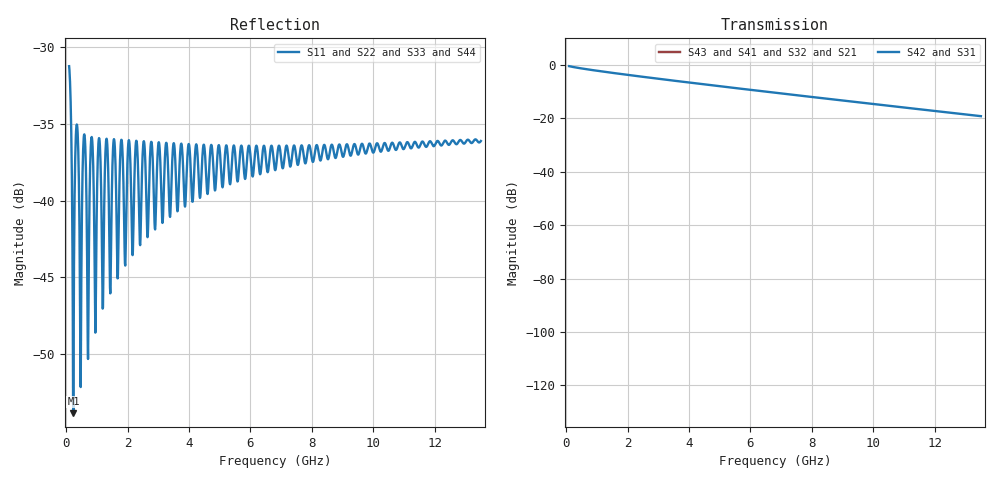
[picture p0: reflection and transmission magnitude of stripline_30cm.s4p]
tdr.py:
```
import skrf as rf
import numpy as np
import matplotlib.pyplot as plt
from scipy.signal import windows

# Load Touchstone file (Replace 'your_file.s4p' with your actual filename)
ntwk = rf.Network("Striplines/stripline_30cm.s4p")

# Extract frequency vector (in Hz)
freq = ntwk.f

# Extract S11 (reflection coefficient of port 1)
S11 = ntwk.s[:, 0, 0]  # First port's reflection coefficient

# plot frequency and time-domain s-parameters
#figure(figsize=(8,4))
#subplot(121)
ntwk.plot_s_db(m=0, n=0, color='r' )
ntwk.plot_s_db_time(m=0, n=0, color='r' )
#title('Frequency Domain')

#subplot(122)
#S11.plot_s_db_time()
#s22_gated.plot_s_db_time()
#title('Time Domain')
#tight_layout()

plt.show()

# Apply a window function (Hanning or Kaiser) to reduce FFT artifacts
window = windows.kaiser(len(S11), beta=6)  # Kaiser window
S11_windowed = S11 * window

# Zero-padding for better time resolution
N = 2**14  # Power of 2 for efficient FFT
S11_padded = np.zeros(N, dtype=complex)
S11_padded[:len(S11)] = S11_windowed

# Compute IFFT to get TDR response
tdr_response = np.fft.ifft(S11_padded)
tdr_response = np.abs(tdr_response)  # Take magnitude for analysis

# Compute time vector
df = freq[1] - freq[0]  # Frequency step
time = np.fft.fftfreq(N, d=df) * 1e9  # Convert to nanoseconds (ns)

# Compute impedance profile assuming Z0 = 50 Ohms
Z0 = 50
tdr_impedance = Z0 * (1 + np.abs(tdr_response)) / (1 - np.abs(tdr_response))

# Plot TDR response
plt.figure(figsize=(8, 5))
plt.plot(time[:N//2], tdr_impedance[:N//2], label="Impedance Profile")
plt.xlabel("Time (ns)")
plt.ylabel("Impedance (Ohms)")
plt.title("TDR Impedance Profile (Open Ports 2, 3, 4)")
plt.grid()
plt.legend()
plt.show()
```
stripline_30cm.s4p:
! Touchstone generated by fitter/viewer
! HL_PORTMAP 1.0
! PORT  1  (PIN N1, Net001, S)
! PORT  2  (PIN N2, Net002, S)
! PORT  3  (PIN N3, Net001, S)
! PORT  4  (PIN N4, Net002, S)
! CONNECT 1, 3;
! CONNECT 2, 4;
! END_HL_PORTMAP
# HZ S  RI R 5.000000e+01
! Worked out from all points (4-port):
!   1351 points, 100 MHz to 13.5 GHz, reference 50 ohm
!   strongest paths, dB at 100 MHz, 3.445 GHz, 6.8 GHz, 10.15 GHz, 13.5 GHz:
!     S42: -0.4, -5.8, -10.4, -14.8, -19.1
!     S31: -0.4, -5.8, -10.4, -14.8, -19.1
!     S43: -, -, -, -, -
!     S41: -, -, -, -, -
!     S32: -, -, -, -, -
!     S21: -, -, -, -, -
!   lowest |S11| = -53.8 dB at 239 MHz (marker M1), VSWR 1.00, Z = 50.2 + j0.0358 ohm
!   |S11| at or under -10 dB: start of sweep to end of sweep
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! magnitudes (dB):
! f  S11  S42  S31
! 100 MHz  -31.3  -0.4  -0.4
! 239 MHz  -53.8  -0.8  -0.8
! 13.5 GHz  -36.1  -19.1  -19.1
